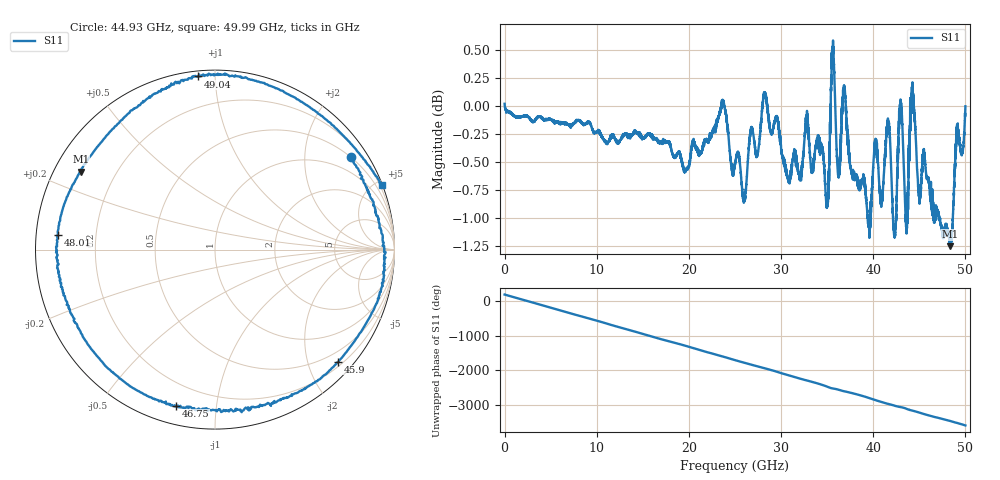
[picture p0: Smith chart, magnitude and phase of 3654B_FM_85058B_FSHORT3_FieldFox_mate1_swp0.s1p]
!Created with skrf (http://scikit-rf.org).
# Hz S RI R 50.0
!freq ReS11 ImS11
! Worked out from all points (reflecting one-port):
!   10000 points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, 5.3 MHz to 50 GHz, reference 50 ohm
!   lowest |S11| = -1.3 dB at 48.34 GHz (marker M1), VSWR 13.89, Z = 3.86 + j13.4 ohm
!   phase of S11 starts at 180 deg and turns -3760 deg over the sweep
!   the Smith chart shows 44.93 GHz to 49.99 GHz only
!   S11 on the Smith chart (normalised r, x): 44.93 GHz: 0.50, +3.18; 45.9 GHz: 0.29, -2.55; 46.75 GHz: 0.09, -0.78; 48.01 GHz: 0.06, +0.05; 49.04 GHz: 0.03, +0.91; 49.99 GHz: 0.08, +5.38
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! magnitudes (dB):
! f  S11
! 5.3 MHz  0.0
! 6.255 GHz  -0.1
! 12.51 GHz  -0.3
! 18.76 GHz  -0.4
! 23.68 GHz  0.1
! 25.01 GHz  -0.5
! 26.03 GHz  -0.8
! 28.24 GHz  0.1
! 31.26 GHz  -0.5
! 34.98 GHz  -0.9
! 35.65 GHz  0.5
! 36.21 GHz  -0.6
! 36.83 GHz  0.2
! 37.51 GHz  -0.5
! 39.54 GHz  -1.1
! 41.62 GHz  -0.1
! 42.32 GHz  -1.2
! 42.99 GHz  0.0
! 43.76 GHz  -0.8
! 44.25 GHz  0.1
! 44.93 GHz  -0.8
! 45.9 GHz  -0.7
! 46.75 GHz  -0.9
! 48.01 GHz  -1.1
! 48.34 GHz  -1.3
! 49.04 GHz  -0.3
! 49.99 GHz  0.0
! 50 GHz  0.0
